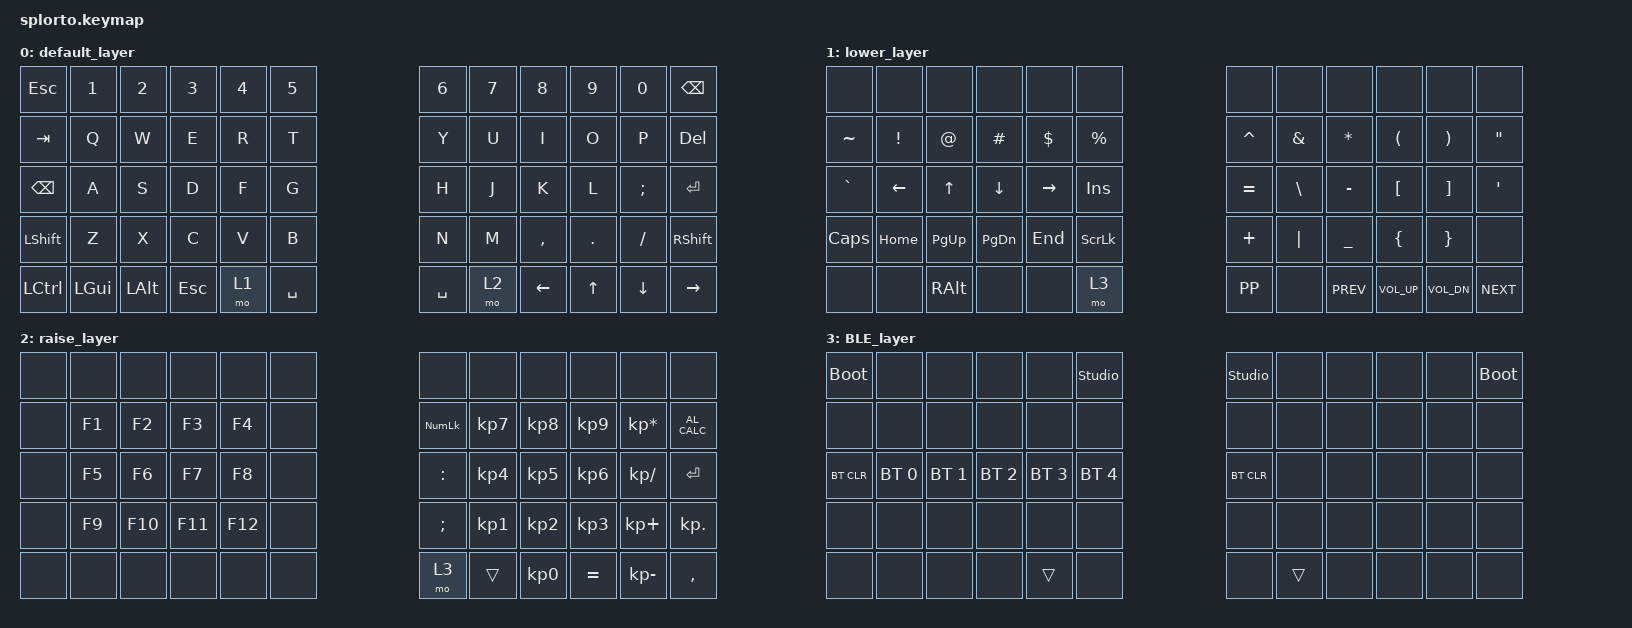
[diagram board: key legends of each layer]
// This file was generated from a template. Edit it to match your keyboard.
// See https://zmk.dev/docs/development/hardware-integration/new-shield for more instructions.

#include <behaviors.dtsi>
#include <dt-bindings/zmk/keys.h>
#include <dt-bindings/zmk/bt.h>

/ {
    // Define a default keymap here.
    // See https://zmk.dev/docs/development/hardware-integration/new-shield#default-keymap.
    keymap {
        compatible = "zmk,keymap";
        // layer 0
        default_layer {
            // ----------------------------------------------------------------------------------
            // |  ESC |  1  |  2  |  3  |  4  |  5  |   |  6  |  7  |  8   |  9  |  0   | BKSP  |
            // |  TAB |  Q  |  W  |  E  |  R  |  T  |   |  Y  |  U  |  I   |  O  |  P   | DEL   |
            // | BKSP |  A  |  S  |  D  |  F  |  G  |   |  H  |  J  |  K   |  L  |  ;   | ENT   |
            // | SHFT |  Z  |  X  |  C  |  V  |  B  |   |  N  |  M  |  ,   |  .  |  /   | SHFT  |
            // | CTRL | GUI | ALT | ESC | LWR | SPC |   | SPC | RSE | LEFT | UP  | DOWN | RIGHT |
            // ----------------------------------------------------------------------------------
            bindings = <
                &kp ESC    &kp N1    &kp N2    &kp N3   &kp N4  &kp N5       &kp N6     &kp N7  &kp N8     &kp N9   &kp N0    &kp BSPC
                &kp TAB    &kp Q     &kp W     &kp E    &kp R   &kp T        &kp Y      &kp U   &kp I      &kp O    &kp P     &kp DEL
                &kp BSPC   &kp A     &kp S     &kp D    &kp F   &kp G        &kp H      &kp J   &kp K      &kp L    &kp SEMI  &kp RET
                &kp LSHFT  &kp Z     &kp X     &kp C    &kp V   &kp B        &kp N      &kp M   &kp COMMA  &kp DOT  &kp FSLH  &kp RSHFT
                &kp LCTRL  &kp LGUI  &kp LALT  &kp ESC  &mo 1   &kp SPC      &kp SPACE  &mo 2   &kp LEFT   &kp UP   &kp DOWN  &kp RIGHT
            >;
        };

        // layer 1
        lower_layer {
            // -------------------------------------------------------------------------------------------
            // |      |      |      |        |       |      |   |      |     |      |      |      |      |
            // |  ~   |  !   |  @   |  #     |   $   |  %   |   |  ^   |  &  |  *   |  (   |  )   |  "   |
            // |  `   | LEFT |  UP  |  DOWN  | RIGHT | INS  |   |  =   |  \  |  -   |  [   |  ]   |  '   |
            // | CAPS | HOME | PGUP | PGDOWN |  END  | SLCK |   |  +   | "|" |  _   |  {   |  }   |      |
            // |      |      | RALT |        |       | BLE  |   | Play |     | Prev | Vol+ | Vol- | Next |
            // -------------------------------------------------------------------------------------------
            bindings = <
                &none  &none  &none  &none  &none   &none  &none  &none   &none  &none  &none  &none
                &kp TILDE  &kp EXCL  &kp AT     &kp HASH   &kp DLLR   &kp PRCNT      &kp CARET  &kp AMPS  &kp ASTRK   &kp LPAR      &kp RPAR      &kp DQT
                &kp GRAVE  &kp LEFT  &kp UP     &kp DOWN   &kp RIGHT  &kp INS        &kp EQUAL  &kp BSLH  &kp MINUS   &kp LBKT      &kp RBKT      &kp SQT
                &kp CAPS   &kp HOME  &kp PG_UP  &kp PG_DN  &kp END    &kp SLCK       &kp PLUS   &kp PIPE  &kp UNDER   &kp LBRC      &kp RBRC      &none
                &none      &none     &kp RALT   &none      &none      &mo 3        &kp K_PP   &none     &kp K_PREV  &kp K_VOL_UP  &kp K_VOL_DN  &kp K_NEXT
            >;
        };

        // layer 2
        raise_layer {
            // -------------------------------------------------------------------------------
            // |     |     |     |     |     |    |   |       |     |     |     |     |      |
            // |     | F1  | F2  | F3  | F4  |    |   | NLOCK |  7  |  8  |  9  |  *  | CALC |
            // |     | F5  | F6  | F7  | F8  |    |   |   :   |  4  |  5  |  6  |  /  |  RET |
            // |     | F9  | F10 | F11 | F12 |    |   |   ;   |  1  |  2  |  3  |  +  |  .   |
            // |     |     |    |      |     |    |   |  BLE  |     |  0  |  =  |  -  |  ,   |
            // -------------------------------------------------------------------------------
            bindings = <
                &none  &none   &none    &none    &none    &none      &none        &none      &none      &none      &none            &none
                &none  &kp F1  &kp F2   &kp F3   &kp F4   &none      &kp KP_NLCK  &kp KP_N7  &kp KP_N8  &kp KP_N9  &kp KP_MULTIPLY  &kp C_AL_CALC
                &none  &kp F5  &kp F6   &kp F7   &kp F8   &none      &kp COLON    &kp KP_N4  &kp KP_N5  &kp KP_N6  &kp KP_DIVIDE    &kp RET
                &none  &kp F9  &kp F10  &kp F11  &kp F12  &none      &kp SEMI     &kp KP_N1  &kp KP_N2  &kp KP_N3  &kp KP_PLUS      &kp KP_DOT
                &none  &none   &none    &none    &none    &none      &mo 3        &trans     &kp KP_N0  &kp EQUAL  &kp KP_MINUS     &kp COMMA
            >;
        };

        // layer 3
        BLE_layer {
            // -------------------------------------------------------------------------------------
            // | BOOT  |     |     |     |     | STUDIO |   | STUDIO |    |     |     |     | BOOT |
            // |       |     |     |     |     |        |   |        |    |     |     |     |      |
            // | BTCLR | BT1 | BT2 | BT3 | BT4 | BT5    |   | BLTCLR |    |     |     |     |      |
            // |       |     |     |     |     |        |   |        |    |     |     |     |      |
            // |       |     |     |     |     |        |   |        |    |     |     |     |      |
            // -------------------------------------------------------------------------------------
            bindings = <
                &bootloader &none           &none           &none           &none           &studio_unlock      &studio_unlock  &none   &none  &none  &none  &bootloader
                &none       &none           &none           &none           &none           &none               &none           &none   &none  &none  &none  &none
                &bt BT_CLR  &bt BT_SEL 0    &bt BT_SEL 1    &bt BT_SEL 2    &bt BT_SEL 3    &bt BT_SEL 4        &bt BT_CLR      &none   &none  &none  &none  &none
                &none       &none           &none           &none           &none           &none               &none           &none   &none  &none  &none  &none
                &none       &none           &none           &none           &trans          &none               &none           &trans  &none  &none  &none  &none
            >;
        };
    };
};
